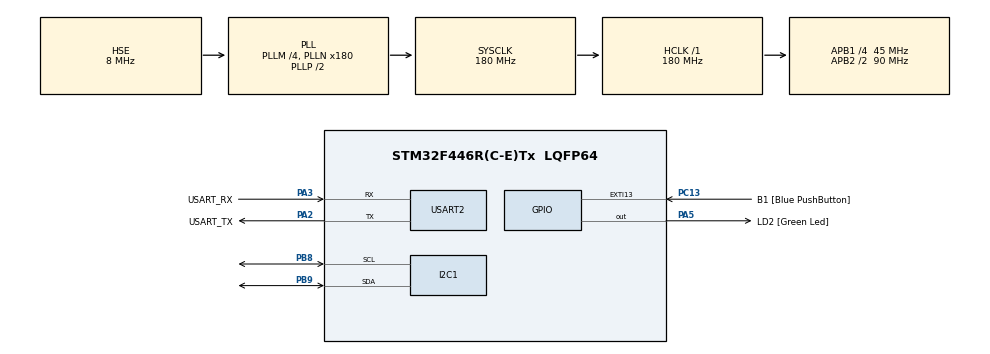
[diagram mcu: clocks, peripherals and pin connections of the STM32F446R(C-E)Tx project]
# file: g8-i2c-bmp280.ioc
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I2C1.I2C_Mode=I2C_Fast
Mcu.Family=STM32F4
Mcu.Name=STM32F446R(C-E)Tx
Mcu.Package=LQFP64
NVIC.PriorityGroup=NVIC_PRIORITYGROUP_0
PA13.GPIO_Label=TMS
PA13.Mode=Serial_Wire
PA13.Signal=SYS_JTMS-SWDIO
PA14.GPIO_Label=TCK
PA14.Mode=Serial_Wire
PA14.Signal=SYS_JTCK-SWCLK
PA2.GPIO_Label=USART_TX
PA2.Mode=Asynchronous
PA2.Signal=USART2_TX
PA3.GPIO_Label=USART_RX
PA3.Mode=Asynchronous
PA3.Signal=USART2_RX
PA5.GPIO_Label=LD2 [Green Led]
PA5.Signal=GPIO_Output
PB3.GPIO_Label=SWO
PB3.Signal=SYS_JTDO-SWO
PB8.Mode=I2C
PB8.Signal=I2C1_SCL
PB9.Mode=I2C
PB9.Signal=I2C1_SDA
PC13.GPIO_Label=B1 [Blue PushButton]
PC13.GPIO_ModeDefaultEXTI=GPIO_MODE_IT_FALLING
PC13.Signal=GPXTI13
PC14-OSC32_IN.Signal=RCC_OSC32_IN
PC15-OSC32_OUT.Signal=RCC_OSC32_OUT
PH0-OSC_IN.Mode=HSE-External-Oscillator
PH0-OSC_IN.Signal=RCC_OSC_IN
PH1-OSC_OUT.Mode=HSE-External-Oscillator
PH1-OSC_OUT.Signal=RCC_OSC_OUT
ProjectManager.HeapSize=0x200
ProjectManager.StackSize=0x400
ProjectManager.TargetToolchain=SW4STM32
RCC.48MHZClocksFreq_Value=84000000
RCC.AHBFreq_Value=180000000
RCC.APB1CLKDivider=RCC_HCLK_DIV4
RCC.APB1Freq_Value=45000000
RCC.APB1TimFreq_Value=90000000
RCC.APB2CLKDivider=RCC_HCLK_DIV2
RCC.APB2Freq_Value=90000000
RCC.APB2TimFreq_Value=180000000
RCC.CortexFreq_Value=180000000
RCC.FLatency-AdvancedSettings=FLASH_LATENCY_5
RCC.HCLKFreq_Value=180000000
RCC.HSE_VALUE=8000000
RCC.HSI_VALUE=16000000
RCC.PLLM=4
RCC.PLLN=180
RCC.PLLSourceVirtual=RCC_PLLSOURCE_HSE
RCC.SYSCLKFreq_VALUE=180000000
RCC.SYSCLKSource=RCC_SYSCLKSOURCE_PLLCLK
RCC.USBFreq_Value=180000000
RCC.VCOOutputFreq_Value=360000000
USART2.VirtualMode=VM_ASYNC
board=NUCLEO-F446RE

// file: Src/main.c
/**
  ******************************************************************************
  * @file           : main.c
  * @brief          : Main program body
  ******************************************************************************
  ** This notice applies to any and all portions of this file
  * that are not between comment pairs USER CODE BEGIN and
  * USER CODE END. Other portions of this file, whether
  * inserted by the user or by software development tools
  * are owned by their respective copyright owners.
  *
  * COPYRIGHT(c) 2018 STMicroelectronics
  *
  * Redistribution and use in source and binary forms, with or without modification,
  * are permitted provided that the following conditions are met:
  *   1. Redistributions of source code must retain the above copyright notice,
  *      this list of conditions and the following disclaimer.
  *   2. Redistributions in binary form must reproduce the above copyright notice,
  *      this list of conditions and the following disclaimer in the documentation
  *      and/or other materials provided with the distribution.
  *   3. Neither the name of STMicroelectronics nor the names of its contributors
  *      may be used to endorse or promote products derived from this software
  *      without specific prior written permission.
  *
  * THIS SOFTWARE IS PROVIDED BY THE COPYRIGHT HOLDERS AND CONTRIBUTORS "AS IS"
  * AND ANY EXPRESS OR IMPLIED WARRANTIES, INCLUDING, BUT NOT LIMITED TO, THE
  * IMPLIED WARRANTIES OF MERCHANTABILITY AND FITNESS FOR A PARTICULAR PURPOSE ARE
  * DISCLAIMED. IN NO EVENT SHALL THE COPYRIGHT HOLDER OR CONTRIBUTORS BE LIABLE
  * FOR ANY DIRECT, INDIRECT, INCIDENTAL, SPECIAL, EXEMPLARY, OR CONSEQUENTIAL
  * DAMAGES (INCLUDING, BUT NOT LIMITED TO, PROCUREMENT OF SUBSTITUTE GOODS OR
  * SERVICES; LOSS OF USE, DATA, OR PROFITS; OR BUSINESS INTERRUPTION) HOWEVER
  * CAUSED AND ON ANY THEORY OF LIABILITY, WHETHER IN CONTRACT, STRICT LIABILITY,
  * OR TORT (INCLUDING NEGLIGENCE OR OTHERWISE) ARISING IN ANY WAY OUT OF THE USE
  * OF THIS SOFTWARE, EVEN IF ADVISED OF THE POSSIBILITY OF SUCH DAMAGE.
  *
  ******************************************************************************
  */
#include "main.h"
#include "stm32f4xx_hal.h"

/* USER CODE BEGIN Includes */
#include "lcd.h"
#include "BMP280.h"
#include "stdio.h"
#include "string.h"

/* USER CODE END Includes */

I2C_HandleTypeDef hi2c1;

UART_HandleTypeDef huart2;

/* USER CODE BEGIN PV */
/* Private variables ---------------------------------------------------------*/

/* Current pressure at sealevel in hPa taken from http://www.aviador.es/Weather/Meteogram/UKKK */
#define QNH 1013

/* Variables for all measurements */
double temp, press, alt;
int8_t com_rslt;

/* USER CODE END PV */

void SystemClock_Config(void);
static void MX_GPIO_Init(void);
static void MX_USART2_UART_Init(void);
static void MX_I2C1_Init(void);

/* USER CODE BEGIN PFP */
/* Private function prototypes -----------------------------------------------*/

/* USER CODE END PFP */

int main(void)
{

  /* MCU Configuration----------------------------------------------------------*/

  /* Reset of all peripherals, Initializes the Flash interface and the Systick. */
  HAL_Init();

  /* Configure the system clock */
  SystemClock_Config();

  /* Initialize all configured peripherals */
  MX_GPIO_Init();
  MX_USART2_UART_Init();
  MX_I2C1_Init();
  /* USER CODE BEGIN 2 */

  LCD_Init();

  /* Start BMP280 and change settings */
  LCD_Printf("Connecting to BMP280...\n");
  bmp280_t bmp280;
  bmp280.i2c_handle = &hi2c1;
  bmp280.dev_addr = BMP280_I2C_ADDRESS1;
  com_rslt = BMP280_init(&bmp280);
  com_rslt += BMP280_set_power_mode(BMP280_NORMAL_MODE);
  com_rslt += BMP280_set_work_mode(BMP280_STANDARD_RESOLUTION_MODE);
  com_rslt += BMP280_set_standby_durn(BMP280_STANDBY_TIME_1_MS);

  if (com_rslt != SUCCESS) {
  	LCD_Printf("Check BMP280 connection!\nProgram terminated");
  	return 0;
  }

  LCD_Printf("Connection successful!\n");

  /* USER CODE END 2 */

  /* Infinite loop */
  while (1)
  {

  /* USER CODE BEGIN 3 */

  /* Read temperature and pressure */
  BMP280_read_temperature_double(&temp);
  BMP280_read_pressure_double(&press);

  /* Calculate current altitude, based on current QNH pressure */
  alt = BMP280_calculate_altitude(QNH * 100);
  LCD_SetCursor(0, 24);

  LCD_Printf("Temperature : %6.2f C\n", temp);
  LCD_Printf("Pressure: %f Pa\n", press);
  LCD_Printf("Altitude  : %f m", alt);
  HAL_Delay(1000);

  }
  /* USER CODE END 3 */

}

void SystemClock_Config(void)
{

  RCC_OscInitTypeDef RCC_OscInitStruct;
  RCC_ClkInitTypeDef RCC_ClkInitStruct;

    /**Configure the main internal regulator output voltage
    */
  __HAL_RCC_PWR_CLK_ENABLE();

  __HAL_PWR_VOLTAGESCALING_CONFIG(PWR_REGULATOR_VOLTAGE_SCALE1);

    /**Initializes the CPU, AHB and APB busses clocks
    */
  RCC_OscInitStruct.OscillatorType = RCC_OSCILLATORTYPE_HSE;
  RCC_OscInitStruct.HSEState = RCC_HSE_ON;
  RCC_OscInitStruct.PLL.PLLState = RCC_PLL_ON;
  RCC_OscInitStruct.PLL.PLLSource = RCC_PLLSOURCE_HSE;
  RCC_OscInitStruct.PLL.PLLM = 4;
  RCC_OscInitStruct.PLL.PLLN = 180;
  RCC_OscInitStruct.PLL.PLLP = RCC_PLLP_DIV2;
  RCC_OscInitStruct.PLL.PLLQ = 2;
  RCC_OscInitStruct.PLL.PLLR = 2;
  if (HAL_RCC_OscConfig(&RCC_OscInitStruct) != HAL_OK)
  {
    _Error_Handler(__FILE__, __LINE__);
  }

    /**Activate the Over-Drive mode
    */
  if (HAL_PWREx_EnableOverDrive() != HAL_OK)
  {
    _Error_Handler(__FILE__, __LINE__);
  }

    /**Initializes the CPU, AHB and APB busses clocks
    */
  RCC_ClkInitStruct.ClockType = RCC_CLOCKTYPE_HCLK|RCC_CLOCKTYPE_SYSCLK
                              |RCC_CLOCKTYPE_PCLK1|RCC_CLOCKTYPE_PCLK2;
  RCC_ClkInitStruct.SYSCLKSource = RCC_SYSCLKSOURCE_PLLCLK;
  RCC_ClkInitStruct.AHBCLKDivider = RCC_SYSCLK_DIV1;
  RCC_ClkInitStruct.APB1CLKDivider = RCC_HCLK_DIV4;
  RCC_ClkInitStruct.APB2CLKDivider = RCC_HCLK_DIV2;

  if (HAL_RCC_ClockConfig(&RCC_ClkInitStruct, FLASH_LATENCY_5) != HAL_OK)
  {
    _Error_Handler(__FILE__, __LINE__);
  }

    /**Configure the Systick interrupt time
    */
  HAL_SYSTICK_Config(HAL_RCC_GetHCLKFreq()/1000);

    /**Configure the Systick
    */
  HAL_SYSTICK_CLKSourceConfig(SYSTICK_CLKSOURCE_HCLK);

  /* SysTick_IRQn interrupt configuration */
  HAL_NVIC_SetPriority(SysTick_IRQn, 0, 0);
}

/* I2C1 init function */
static void MX_I2C1_Init(void)
{

  hi2c1.Instance = I2C1;
  hi2c1.Init.ClockSpeed = 400000;
  hi2c1.Init.DutyCycle = I2C_DUTYCYCLE_2;
  hi2c1.Init.OwnAddress1 = 0;
  hi2c1.Init.AddressingMode = I2C_ADDRESSINGMODE_7BIT;
  hi2c1.Init.DualAddressMode = I2C_DUALADDRESS_DISABLE;
  hi2c1.Init.OwnAddress2 = 0;
  hi2c1.Init.GeneralCallMode = I2C_GENERALCALL_DISABLE;
  hi2c1.Init.NoStretchMode = I2C_NOSTRETCH_DISABLE;
  if (HAL_I2C_Init(&hi2c1) != HAL_OK)
  {
    _Error_Handler(__FILE__, __LINE__);
  }

}

/* USART2 init function */
static void MX_USART2_UART_Init(void)
{

  huart2.Instance = USART2;
  huart2.Init.BaudRate = 115200;
  huart2.Init.WordLength = UART_WORDLENGTH_8B;
  huart2.Init.StopBits = UART_STOPBITS_1;
  huart2.Init.Parity = UART_PARITY_NONE;
  huart2.Init.Mode = UART_MODE_TX_RX;
  huart2.Init.HwFlowCtl = UART_HWCONTROL_NONE;
  huart2.Init.OverSampling = UART_OVERSAMPLING_16;
  if (HAL_UART_Init(&huart2) != HAL_OK)
  {
    _Error_Handler(__FILE__, __LINE__);
  }

}

/** Configure pins as
        * Analog
        * Input
        * Output
        * EVENT_OUT
        * EXTI
*/
static void MX_GPIO_Init(void)
{

  GPIO_InitTypeDef GPIO_InitStruct;

  /* GPIO Ports Clock Enable */
  __HAL_RCC_GPIOC_CLK_ENABLE();
  __HAL_RCC_GPIOH_CLK_ENABLE();
  __HAL_RCC_GPIOA_CLK_ENABLE();
  __HAL_RCC_GPIOB_CLK_ENABLE();

  /*Configure GPIO pin Output Level */
  HAL_GPIO_WritePin(LD2_GPIO_Port, LD2_Pin, GPIO_PIN_RESET);

  /*Configure GPIO pin : B1_Pin */
  GPIO_InitStruct.Pin = B1_Pin;
  GPIO_InitStruct.Mode = GPIO_MODE_IT_FALLING;
  GPIO_InitStruct.Pull = GPIO_NOPULL;
  HAL_GPIO_Init(B1_GPIO_Port, &GPIO_InitStruct);

  /*Configure GPIO pin : LD2_Pin */
  GPIO_InitStruct.Pin = LD2_Pin;
  GPIO_InitStruct.Mode = GPIO_MODE_OUTPUT_PP;
  GPIO_InitStruct.Pull = GPIO_NOPULL;
  GPIO_InitStruct.Speed = GPIO_SPEED_FREQ_LOW;
  HAL_GPIO_Init(LD2_GPIO_Port, &GPIO_InitStruct);

}

void _Error_Handler(char *file, int line)
{
  while(1)
  {
  }
}

/************************ (C) COPYRIGHT STMicroelectronics *****END OF FILE****/
